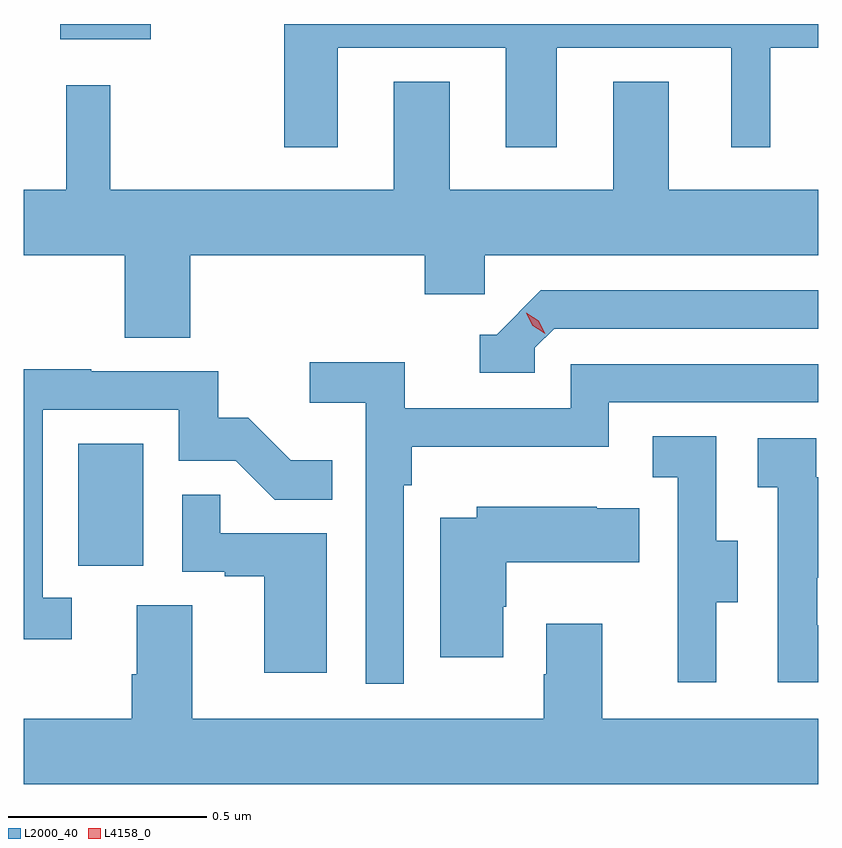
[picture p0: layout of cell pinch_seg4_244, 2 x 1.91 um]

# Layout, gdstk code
import gdstk
lib = gdstk.Library(unit=1e-6, precision=1e-09)
def R(c, l, rs):  # rectangles x0, y0, x1, y1
    for r in rs: c.add(gdstk.rectangle(r[:2], r[2:], *l))
def P(c, l, *ps):  # polygons
    for p in ps: c.add(gdstk.Polygon(p, *l))
L2000_40 = (2000, 40)
L4158_0 = (4158, 0)

pinch_seg4_244 = lib.new_cell('pinch_seg4_244')
R(pinch_seg4_244, L2000_40, [(901.25,830.67,901.414,830.977), (901.205,831.995,901.432,832.034)])
P(pinch_seg4_244, L2000_40, [(901.903,831.974),(902.327,831.974),(902.327,831.723),(902.455,831.723),(902.455,831.974),(902.894,831.974),(902.894,831.723),(902.992,831.723),(902.992,831.974),(903.113,831.974),(903.113,832.034),(901.768,832.034),(901.768,831.723),(901.903,831.723)],
  [(901.532,831.452),(902.123,831.452),(902.123,831.354),(902.274,831.354),(902.274,831.452),(903.113,831.452),(903.113,831.616),(902.737,831.616),(902.737,831.889),(902.597,831.889),(902.597,831.616),(902.185,831.616),(902.185,831.889),(902.045,831.889),(902.045,831.616),(901.33,831.616),(901.33,831.88),(901.219,831.88),(901.219,831.616),(901.113,831.616),(901.113,831.452),(901.367,831.452),(901.367,831.244),(901.532,831.244)],
  [(902.4,831.219),(902.448,831.267),(903.113,831.267),(903.113,831.363),(902.415,831.363),(902.304,831.252),(902.261,831.252),(902.261,831.156),(902.4,831.156)],
  [(902.07,830.873),(902.09,830.873),(902.09,830.969),(902.586,830.969),(902.586,831.081),(903.113,831.081),(903.113,831.177),(902.49,831.177),(902.49,831.066),(902.072,831.066),(902.072,831.182),(901.833,831.182),(901.833,831.08),(901.974,831.08),(901.974,830.373),(902.07,830.373)],
  [(901.234,830.589),(901.161,830.589),(901.161,831.063),(901.503,831.063),(901.503,830.934),(901.647,830.934),(901.745,830.836),(901.889,830.836),(901.889,830.935),(901.785,830.935),(901.678,831.042),(901.602,831.042),(901.602,831.159),(901.283,831.159),(901.283,831.164),(901.113,831.164),(901.113,830.484),(901.234,830.484)],
  [(902.857,830.578),(902.911,830.578),(902.911,830.733),(902.856,830.733),(902.856,830.996),(902.697,830.996),(902.697,830.893),(902.76,830.893),(902.76,830.589),(902.759,830.589),(902.759,830.376),(902.857,830.376)],
  [(903.113,830.52),(903.111,830.52),(903.111,830.639),(903.113,830.639),(903.113,830.893),(903.108,830.893),(903.108,830.991),(902.961,830.991),(902.961,830.867),(903.012,830.867),(903.012,830.376),(903.113,830.376)],
  [(901.876,830.751),(901.607,830.751),(901.607,830.849),(901.512,830.849),(901.512,830.655),(901.619,830.655),(901.619,830.643),(901.718,830.643),(901.718,830.4),(901.876,830.4)],
  [(902.32,830.567),(902.328,830.567),(902.328,830.678),(902.663,830.678),(902.663,830.815),(902.555,830.815),(902.555,830.818),(902.253,830.818),(902.253,830.791),(902.162,830.791),(902.162,830.439),(902.32,830.439)],
  [(903.113,830.284),(902.569,830.284),(902.569,830.524),(902.429,830.524),(902.429,830.396),(902.422,830.396),(902.422,830.284),(901.537,830.284),(901.537,830.57),(901.397,830.57),(901.397,830.396),(901.385,830.396),(901.385,830.284),(901.113,830.284),(901.113,830.12),(903.113,830.12)])
P(pinch_seg4_244, L4158_0, [(902.426,831.254),(902.395,831.274),(902.378,831.306),(902.378,831.307),(902.378,831.307),(902.409,831.287),(902.426,831.254),(902.426,831.254)])

lib.write_gds('pinch_seg4_244.gds')
